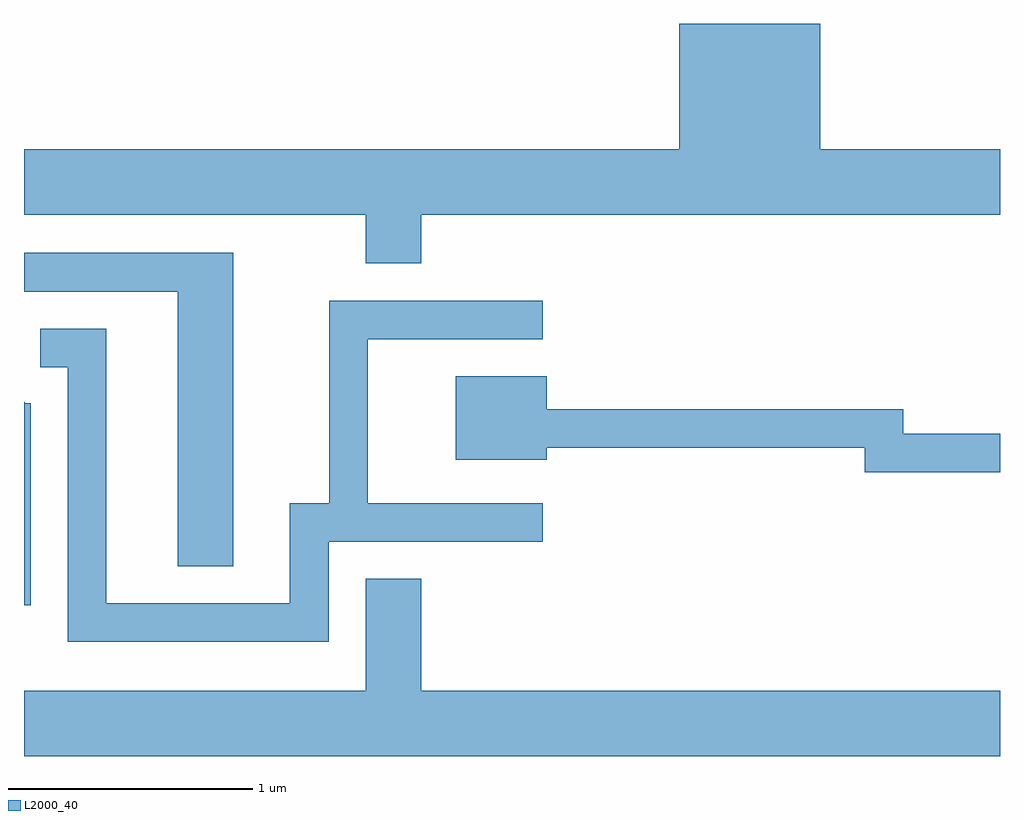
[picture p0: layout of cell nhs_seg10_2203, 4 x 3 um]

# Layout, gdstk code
import gdstk
lib = gdstk.Library(unit=1e-6, precision=1e-09)
def P(c, l, *ps):  # polygons
    for p in ps: c.add(gdstk.Polygon(p, *l))
L2000_40 = (2000, 40)

nhs_seg10_2203 = lib.new_cell('nhs_seg10_2203')
P(nhs_seg10_2203, L2000_40, [(251.239,2151.656),(253.611,2151.656),(253.611,2151.924),(252.874,2151.924),(252.874,2152.439),(252.296,2152.439),(252.296,2151.924),(249.611,2151.924),(249.611,2151.656),(251.011,2151.656),(251.011,2151.456),(251.239,2151.456)],
  [(250.469,2151.499),(249.611,2151.499),(249.611,2151.341),(250.241,2151.341),(250.241,2150.216),(250.469,2150.216)],
  [(250.859,2150.316),(251.738,2150.316),(251.738,2150.474),(251.019,2150.474),(251.019,2151.146),(251.738,2151.146),(251.738,2151.304),(250.861,2151.304),(250.861,2150.474),(250.701,2150.474),(250.701,2150.064),(249.949,2150.064),(249.949,2151.189),(249.678,2151.189),(249.678,2151.031),(249.791,2151.031),(249.791,2149.906),(250.859,2149.906)],
  [(253.611,2150.759),(253.214,2150.759),(253.214,2150.859),(251.754,2150.859),(251.754,2150.994),(251.381,2150.994),(251.381,2150.651),(251.754,2150.651),(251.754,2150.701),(253.056,2150.701),(253.056,2150.601),(253.611,2150.601)],
  [(249.639,2150.884),(249.617,2150.884),(249.611,2150.89),(249.611,2150.056),(249.639,2150.056)],
  [(253.611,2149.704),(251.239,2149.704),(251.239,2150.164),(251.011,2150.164),(251.011,2149.704),(249.611,2149.704),(249.611,2149.436),(253.611,2149.436)])

lib.write_gds('nhs_seg10_2203.gds')
